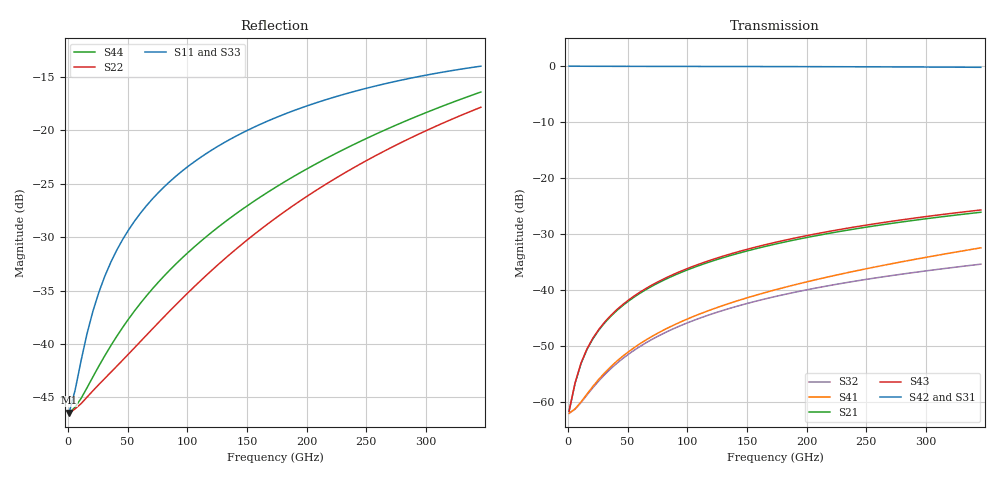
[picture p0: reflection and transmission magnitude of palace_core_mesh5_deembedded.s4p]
! Created with skrf 1.9.0 (http://scikit-rf.org).
# GHz S DB R 50.0
!freq dBS11 angS11 dBS12 angS12 dBS13 angS13
! dBS14 angS14
! dBS21 angS21 dBS22 angS22 dBS23 angS23
! dBS24 angS24
! dBS31 angS31 dBS32 angS32 dBS33 angS33
! dBS34 angS34
! dBS41 angS41 dBS42 angS42 dBS43 angS43
! dBS44 angS44
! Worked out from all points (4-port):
!   70 points, 1 GHz to 346 GHz, reference 50 ohm
!   strongest paths, dB at 1 GHz, 86 GHz, 176 GHz, 261 GHz, 346 GHz:
!     S42: 0.0, -0.1, -0.1, -0.2, -0.2
!     S31: 0.0, -0.1, -0.2, -0.3, -0.4
!     S43: -61.6, -37.5, -31.4, -28.1, -25.7
!     S21: -61.6, -37.7, -31.7, -28.4, -26.1
!     S41: -62.0, -46.5, -39.8, -35.7, -32.5
!     S32: -62.0, -47.2, -41.1, -37.8, -35.4
!   lowest |S11| = -46.4 dB at 1 GHz (marker M1), VSWR 1.01, Z = 50.5 - j0.0446 ohm
!   |S11| at or under -10 dB: start of sweep to end of sweep
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1  -46.44 -5.3  -61.63 14.3  -0.04 -0.1  -62.03 178.0
   -61.63 14.3  -46.49 0.6  -62.03 178.0  -0.04 -0.2
   -0.04 -0.1  -62.03 178.0  -46.44 -5.3  -61.61 14.7
   -62.03 178.0  -0.04 -0.2  -61.61 14.7  -46.48 0.6
11  -41.57 -51.2  -53.13 59.0  -0.05 -1.3  -60.00 159.4
    -53.13 59.0  -45.59 -10.5  -60.10 159.3  -0.05 -1.6
    -0.05 -1.3  -60.10 159.3  -41.54 -51.2  -53.03 61.4
    -60.00 159.4  -0.05 -1.6  -53.03 61.4  -45.10 -10.2
26  -35.13 -71.0  -47.15 67.1  -0.06 -2.9  -55.92 133.6
    -47.15 67.1  -43.78 -32.2  -56.20 132.2  -0.06 -3.6
    -0.06 -2.9  -56.20 132.2  -35.10 -71.1  -47.01 72.3
    -55.92 133.6  -0.06 -3.6  -47.01 72.3  -42.05 -27.3
51  -29.28 -82.6  -41.95 68.2  -0.08 -5.5  -51.00 111.0
    -41.95 68.2  -40.91 -66.4  -51.44 106.8  -0.07 -6.9
    -0.08 -5.5  -51.44 106.8  -29.25 -82.9  -41.76 77.9
    -51.00 111.0  -0.07 -6.9  -41.76 77.9  -37.63 -44.0
81  -25.24 -89.6  -38.18 64.8  -0.10 -8.7  -47.08 97.2
    -38.18 64.8  -37.40 -96.9  -47.66 90.0  -0.08 -10.9
    -0.10 -8.7  -47.66 90.0  -25.19 -90.0  -37.95 79.9
    -47.08 97.2  -0.08 -10.9  -37.95 79.9  -33.58 -52.2
186  -18.28 -104.3  -31.24 45.0  -0.18 -19.8  -39.30 70.8
     -31.24 45.0  -27.25 -155.0  -40.60 55.2  -0.12 -25.0
     -0.18 -19.8  -40.60 55.2  -18.18 -105.3  -30.92 79.1
     -39.30 70.8  -0.12 -25.0  -30.92 79.1  -24.52 -60.9
346  -13.99 -122.3  -26.13 9.5  -0.36 -36.2  -32.48 39.6
     -26.13 9.5  -17.83 161.3  -35.40 18.1  -0.25 -46.8
     -0.36 -36.2  -35.40 18.1  -13.74 -122.7  -25.72 74.4
     -32.48 39.6  -0.25 -46.8  -25.72 74.4  -16.40 -72.5
